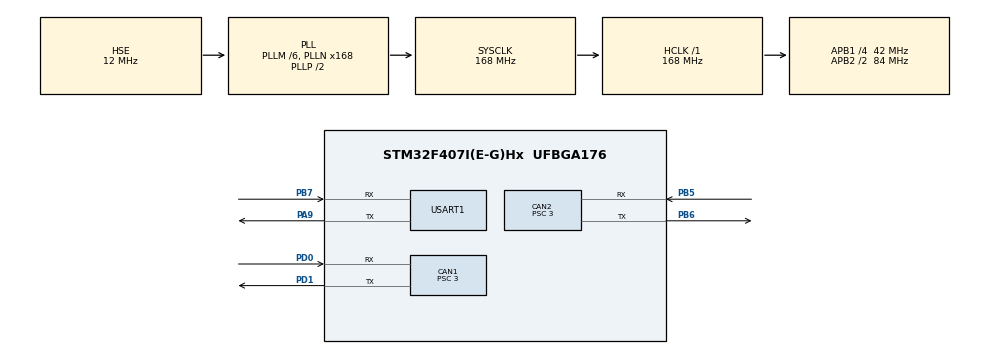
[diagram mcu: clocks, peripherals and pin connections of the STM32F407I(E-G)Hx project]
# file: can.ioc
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CAN1.BS1=CAN_BS1_10TQ
CAN1.BS2=CAN_BS2_3TQ
CAN1.CalculateBaudRate=1000000
CAN1.CalculateTimeBit=1000
CAN1.CalculateTimeQuantum=71.42857142857143
CAN1.Prescaler=3
CAN2.BS1=CAN_BS1_10TQ
CAN2.BS2=CAN_BS2_3TQ
CAN2.CalculateBaudRate=1000000
CAN2.CalculateTimeBit=1000
CAN2.CalculateTimeQuantum=71.42857142857143
CAN2.Prescaler=3
Mcu.Family=STM32F4
Mcu.Name=STM32F407I(E-G)Hx
Mcu.Package=UFBGA176
NVIC.CAN1_RX0_IRQn=true\:0\:0\:false\:false\:true\:true\:true\:true
NVIC.CAN2_RX0_IRQn=true\:0\:0\:false\:false\:true\:true\:true\:true
NVIC.PriorityGroup=NVIC_PRIORITYGROUP_4
PA13.Mode=Serial_Wire
PA13.Signal=SYS_JTMS-SWDIO
PA14.Mode=Serial_Wire
PA14.Signal=SYS_JTCK-SWCLK
PA9.Mode=Asynchronous
PA9.Signal=USART1_TX
PB5.Mode=CAN_Activate
PB5.Signal=CAN2_RX
PB6.Mode=CAN_Activate
PB6.Signal=CAN2_TX
PB7.Mode=Asynchronous
PB7.Signal=USART1_RX
PD0.Mode=CAN_Activate
PD0.Signal=CAN1_RX
PD1.Mode=CAN_Activate
PD1.Signal=CAN1_TX
PH0-OSC_IN.Mode=HSE-External-Oscillator
PH0-OSC_IN.Signal=RCC_OSC_IN
PH1-OSC_OUT.Mode=HSE-External-Oscillator
PH1-OSC_OUT.Signal=RCC_OSC_OUT
ProjectManager.HeapSize=0x200
ProjectManager.StackSize=0x400
ProjectManager.TargetToolchain=MDK-ARM V5.32
RCC.48MHZClocksFreq_Value=84000000
RCC.AHBFreq_Value=168000000
RCC.APB1CLKDivider=RCC_HCLK_DIV4
RCC.APB1Freq_Value=42000000
RCC.APB1TimFreq_Value=84000000
RCC.APB2CLKDivider=RCC_HCLK_DIV2
RCC.APB2Freq_Value=84000000
RCC.APB2TimFreq_Value=168000000
RCC.CortexFreq_Value=168000000
RCC.HCLKFreq_Value=168000000
RCC.HSE_VALUE=12000000
RCC.HSI_VALUE=16000000
RCC.LSE_VALUE=32768
RCC.PLLM=6
RCC.PLLN=168
RCC.PLLSourceVirtual=RCC_PLLSOURCE_HSE
RCC.SYSCLKFreq_VALUE=168000000
RCC.SYSCLKSource=RCC_SYSCLKSOURCE_PLLCLK
RCC.VCOOutputFreq_Value=336000000
USART1.VirtualMode=VM_ASYNC
board=custom

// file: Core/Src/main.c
/* USER CODE BEGIN Header */
/**
  ******************************************************************************
  * @file           : main.c
  * @brief          : Main program body
  ******************************************************************************
  * @attention
  *
  * Copyright (c) 2025 STMicroelectronics.
  * All rights reserved.
  *
  * This software is licensed under terms that can be found in the LICENSE file
  * in the root directory of this software component.
  * If no LICENSE file comes with this software, it is provided AS-IS.
  *
  ******************************************************************************
  */
/* USER CODE END Header */
#include "main.h"
#include "can.h"
#include "usart.h"
#include "gpio.h"

/* USER CODE BEGIN Includes */
#include "bsp_can.h"
#include "can_recieve.h"
#include "pid.h"
#include "stdio.h"
#include <stdarg.h>
#include "string.h"
/* USER CODE END Includes */

void SystemClock_Config(void);

/* USER CODE BEGIN 0 */
void usart_printf(const char *fmt,...)
{
    static uint8_t tx_buf[256] = {0};
    static va_list ap;
    static uint16_t len;
    va_start(ap, fmt);

    //return length of string
    //返回字符串长度
    len = vsprintf((char *)tx_buf, fmt, ap);

    va_end(ap);

   //usart1_tx_dma_enable(tx_buf, len);
   HAL_UART_Transmit_DMA(&huart1, tx_buf, len);

}
uint16_t set_speed;
pid_type_def motor_pid;
fp32 PID[3]={1,0.2,3.5};
const motor_measure_t* motor_data[3];
void HAL_CAN_RxFifo0MsgPendingCallback(CAN_HandleTypeDef *hcan);
void CAN_cmd_chassis(int16_t M1, int16_t M2, int16_t M3, int16_t M4);

	/* pid control */
//	fp32 PID_Calc(PidTypeDef *pid,fp32 ref,fp32 set);

/* USER CODE END 0 */

int main(void)
{

  /* USER CODE BEGIN 1 */
	int set=500;

  /* USER CODE END 1 */

  /* MCU Configuration--------------------------------------------------------*/

  /* Reset of all peripherals, Initializes the Flash interface and the Systick. */
  HAL_Init();

  /* Configure the system clock */
  SystemClock_Config();

  /* Initialize all configured peripherals */
  MX_GPIO_Init();
  MX_CAN1_Init();
  MX_CAN2_Init();
  MX_USART1_UART_Init();
  /* USER CODE BEGIN 2 */
  PID_init(&motor_pid,PID_POSITION,PID,16000,1000);
  can_filter_init();
  motor_data[0]=get_chassis_motor_measure_point(0);
  /* USER CODE END 2 */

  /* Infinite loop */
  while (1)
  {

    /* USER CODE BEGIN 3 */

  PID_calc(&motor_pid, motor_data[0]->speed_rpm, 500);
	CAN_cmd_chassis(motor_pid.out,0,0,0);//ID:0X204，绿灯闪烁次数
//		CAN_cmd_gimbal(motor_pid.out,0,0,0);
    HAL_Delay(2);
		// printf("My PID:%f,%d,%d\n",motor_pid.out,set,motor_data[0]->speed_rpm);
		usart_printf("My PID:%f,%d,%d\n",motor_pid.out,set,motor_data[0]->speed_rpm);
//			CAN_cmd_gimbal(500,0,0,0);
//			CAN_cmd_chassis(0,0,0,500);
//       HAL_Delay(10);
  }
  /* USER CODE END 3 */
}

void SystemClock_Config(void)
{
  RCC_OscInitTypeDef RCC_OscInitStruct = {0};
  RCC_ClkInitTypeDef RCC_ClkInitStruct = {0};

  /** Configure the main internal regulator output voltage
  */
  __HAL_RCC_PWR_CLK_ENABLE();
  __HAL_PWR_VOLTAGESCALING_CONFIG(PWR_REGULATOR_VOLTAGE_SCALE1);

  /** Initializes the RCC Oscillators according to the specified parameters
  * in the RCC_OscInitTypeDef structure.
  */
  RCC_OscInitStruct.OscillatorType = RCC_OSCILLATORTYPE_HSE;
  RCC_OscInitStruct.HSEState = RCC_HSE_ON;
  RCC_OscInitStruct.PLL.PLLState = RCC_PLL_ON;
  RCC_OscInitStruct.PLL.PLLSource = RCC_PLLSOURCE_HSE;
  RCC_OscInitStruct.PLL.PLLM = 6;
  RCC_OscInitStruct.PLL.PLLN = 168;
  RCC_OscInitStruct.PLL.PLLP = RCC_PLLP_DIV2;
  RCC_OscInitStruct.PLL.PLLQ = 4;
  if (HAL_RCC_OscConfig(&RCC_OscInitStruct) != HAL_OK)
  {
    Error_Handler();
  }

  /** Initializes the CPU, AHB and APB buses clocks
  */
  RCC_ClkInitStruct.ClockType = RCC_CLOCKTYPE_HCLK|RCC_CLOCKTYPE_SYSCLK
                              |RCC_CLOCKTYPE_PCLK1|RCC_CLOCKTYPE_PCLK2;
  RCC_ClkInitStruct.SYSCLKSource = RCC_SYSCLKSOURCE_PLLCLK;
  RCC_ClkInitStruct.AHBCLKDivider = RCC_SYSCLK_DIV1;
  RCC_ClkInitStruct.APB1CLKDivider = RCC_HCLK_DIV4;
  RCC_ClkInitStruct.APB2CLKDivider = RCC_HCLK_DIV2;

  if (HAL_RCC_ClockConfig(&RCC_ClkInitStruct, FLASH_LATENCY_5) != HAL_OK)
  {
    Error_Handler();
  }
}

void Error_Handler(void)
{
  __disable_irq();
  while (1)
  {
  }
}
